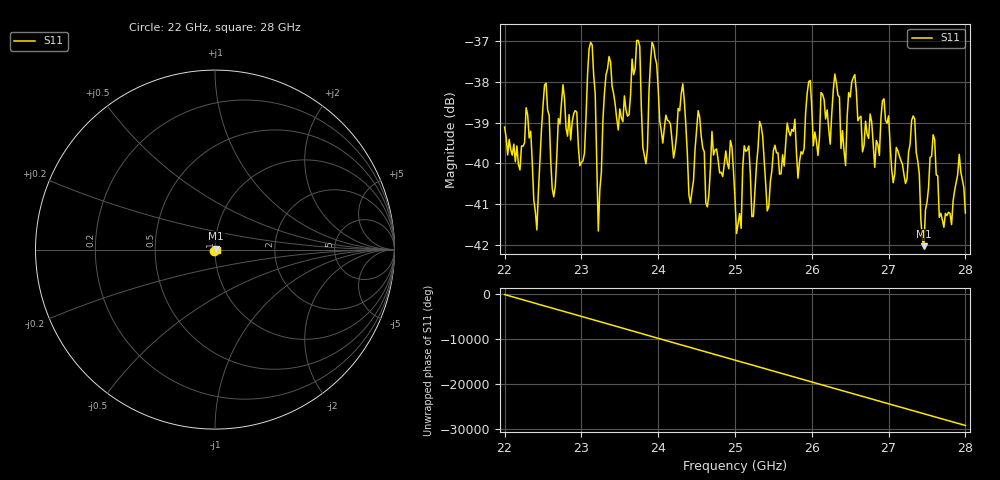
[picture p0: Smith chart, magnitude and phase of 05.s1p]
#  HZ  S  RI  R  50.00
! Rohde & Schwarz ZVA40 4Ports - Version 3.90 - 1145.1110k42 SN: 100403
! Date: 2023-10-04 10:18:58
! Measurement: S12
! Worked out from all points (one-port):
!   301 points, 22 GHz to 28 GHz, reference 50 ohm
!   lowest |S11| = -42.0 dB at 27.46 GHz (marker M1), VSWR 1.02, Z = 50.5 + j0.586 ohm
!   |S11| at or under -10 dB: start of sweep to end of sweep
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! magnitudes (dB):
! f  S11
! 22 GHz  -39.1
! 22.28 GHz  -38.6
! 22.42 GHz  -41.6
! 22.52 GHz  -38.1
! 22.64 GHz  -40.8
! 22.76 GHz  -38.1
! 22.98 GHz  -40.1
! 23.14 GHz  -37.1
! 23.22 GHz  -41.7
! 23.36 GHz  -37.4
! 23.5 GHz  -38.7
! 23.74 GHz  -37.0
! 23.84 GHz  -40.0
! 23.92 GHz  -37.0
! 24.06 GHz  -39.5
! 24.26 GHz  -38.6
! 24.42 GHz  -41.0
! 24.52 GHz  -38.7
! 24.64 GHz  -41.1
! 24.7 GHz  -39.2
! 25 GHz  -40.9
! 25.76 GHz  -39.2
! 26.5 GHz  -38.4
! 27.26 GHz  -39.7
! 27.34 GHz  -38.9
! 27.46 GHz  -42.0
! 27.58 GHz  -39.3
! 28 GHz  -41.2
